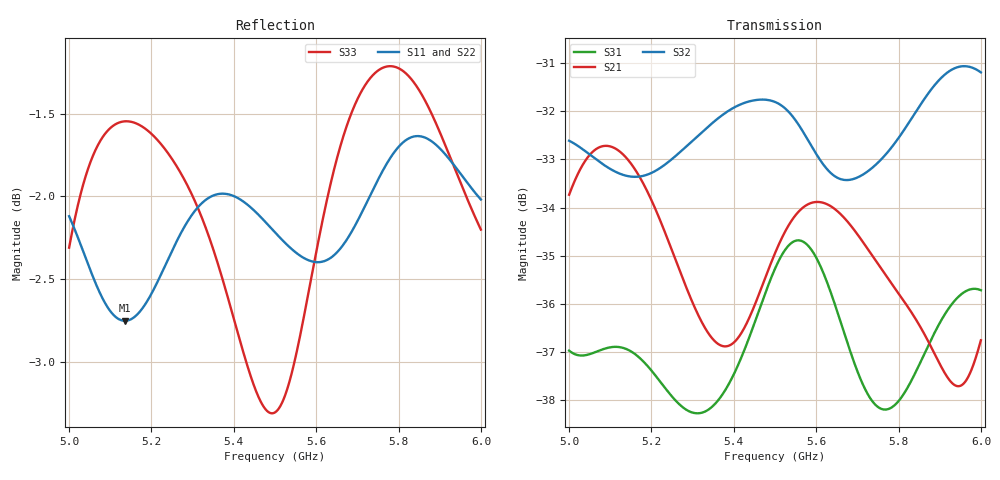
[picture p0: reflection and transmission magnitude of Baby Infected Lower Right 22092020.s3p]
! TOUCHSTONE file generated by CST MICROWAVE STUDIO
! Date and time: Wed Sep 23 10:20:16 2020
! Project name: Baby Lung Lower Right.cst
! Header version: 2018
! Port assignment regex: !\s*Touchstone port\s*([0-9]+)\s*=\s*(CST MWS port|CST DS port)\s*([0-9]+|Zmin|Zmax)\s*\(\"(.*)\"\)(\s*mode\s*([0-9]+))?.*
! Touchstone port assignment:
! Touchstone port 1 = CST MWS port 1 ("")
! Touchstone port 2 = CST MWS port 2 ("")
! Touchstone port 3 = CST MWS port 3 ("")
# GHz S RI R 50
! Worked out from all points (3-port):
!   1001 points, 5 GHz to 6 GHz, reference 50 ohm
!   strongest paths, dB at 5 GHz, 5.25 GHz, 5.5 GHz, 5.75 GHz, 6 GHz:
!     S32: -32.6, -33.0, -31.8, -33.1, -31.2
!     S21: -33.7, -34.9, -35.0, -35.2, -36.8
!     S31: -37.0, -37.9, -35.3, -38.2, -35.7
!   lowest |S11| = -2.8 dB at 5.136 GHz (marker M1), VSWR 6.36, Z = 318 - j11.7 ohm
!   |S11| at or under -10 dB: nowhere
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5  0.7808 -0.0636  -0.0128 -0.0161  0.00931 -0.0107
   -0.0128 -0.0161  0.7555 -0.0463  0.0226 -0.0059
   0.00931 -0.0107  0.0227 -0.00594  0.7632 0.0702
5.136  0.7283 -0.00867  -0.007 0.0214  -0.0127 -0.00649
       -0.007 0.0214  0.7616 0.0026  -0.0114 -0.0183
       -0.0127 -0.00649  -0.0114 -0.0183  0.8369 0.00702
5.243  0.7606 0.0377  0.0175 0.00532  -0.00734 0.0105
       0.0175 0.00532  0.7698 0.00931  -0.0208 0.00809
       -0.00734 0.0105  -0.0208 0.00809  0.8167 -0.0391
5.363  0.7953 0.0212  0.00543 -0.0133  0.00888 0.00892
       0.00543 -0.0133  0.772 0.0119  0.0105 0.0224
       0.00888 0.00893  0.0105 0.0224  0.7545 -0.0575
5.5  0.7746 0.0048  -0.0172 -0.00501  0.00928 -0.0145
     -0.0172 -0.00501  0.7684 0.0316  0.017 -0.0192
     0.00928 -0.0145  0.017 -0.0192  0.6825 0.0352
5.557  0.7626 0.0147  -0.0165 0.0108  -0.00626 -0.0173
       -0.0165 0.0108  0.778 0.0397  -0.00253 -0.0242
       -0.00626 -0.0173  -0.00253 -0.0242  0.7103 0.0965
5.614  0.7582 0.0332  -0.00215 0.0201  -0.0164 -0.00525
       -0.00215 0.0201  0.7879 0.0391  -0.0169 -0.0144
       -0.0164 -0.00525  -0.0169 -0.0144  0.7697 0.123
5.757  0.8041 0.0635  0.0159 -0.00666  -0.00111 0.0123
       0.0159 -0.00666  0.799 0.037  -0.0112 0.0194
       -0.00111 0.0123  -0.0112 0.0194  0.8663 0.0552
5.934  0.8119 0.00945  -0.011 -0.00711  0.0137 -0.00804
       -0.011 -0.0071  0.7973 0.033  0.0258 -0.0105
       0.0137 -0.00805  0.0258 -0.0105  0.8107 -0.0317
6  0.7925 0.0116  -0.0145 0.00112  0.00106 -0.0163
   -0.0145 0.00111  0.8028 0.0365  0.00458 -0.0272
   0.00108 -0.0163  0.00455 -0.0272  0.7757 -0.0239
